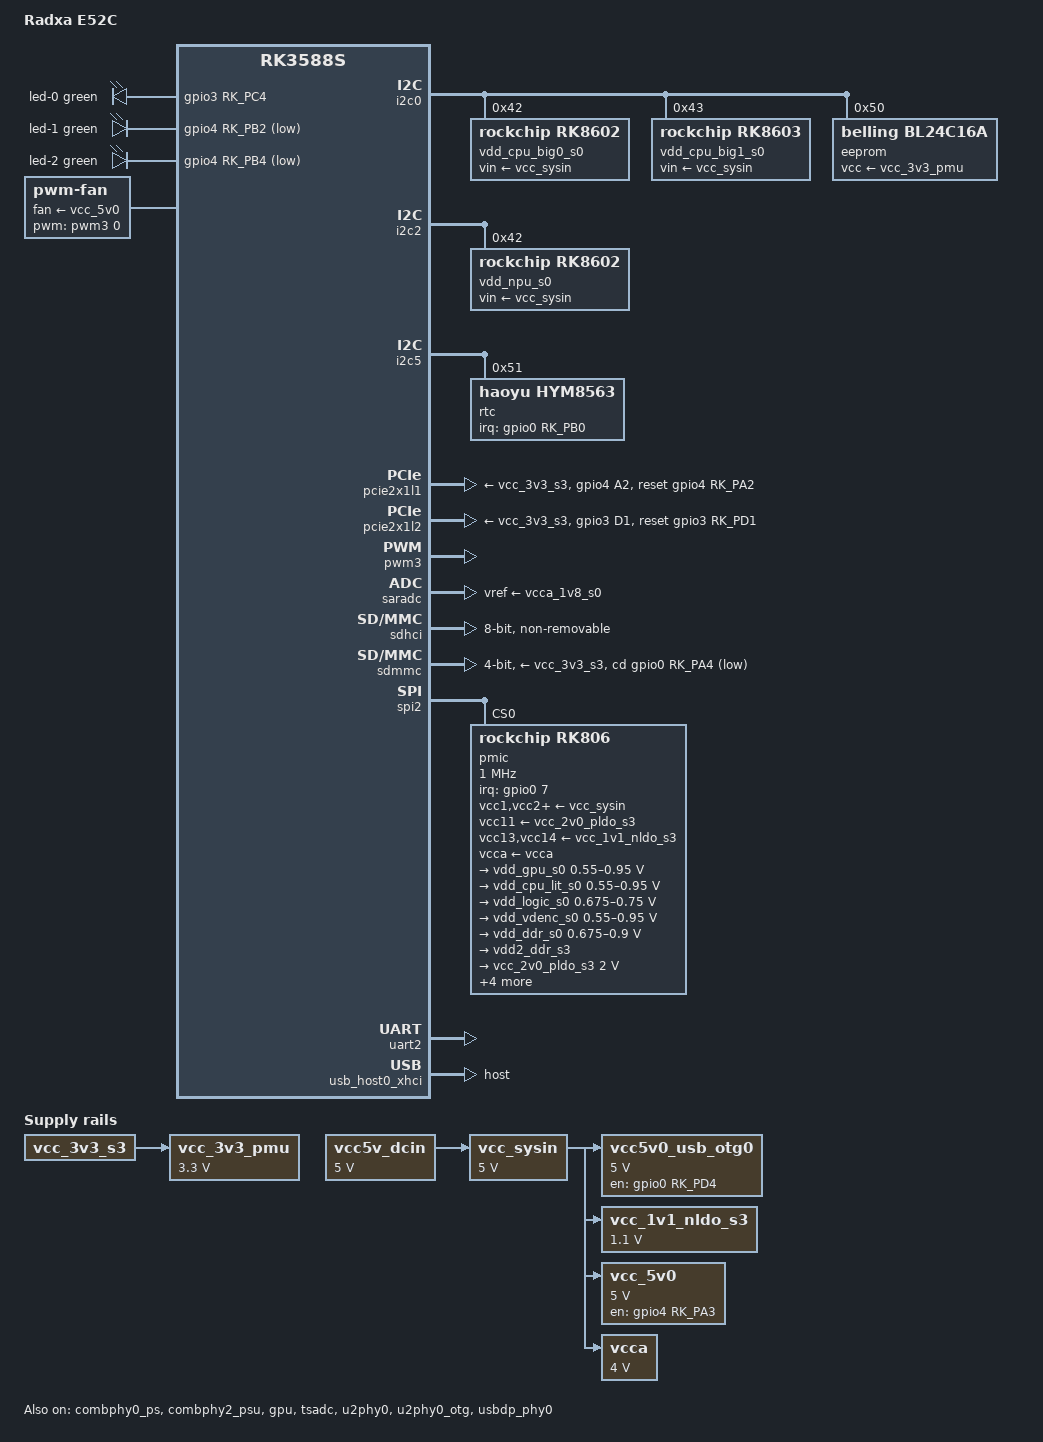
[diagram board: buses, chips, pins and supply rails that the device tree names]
// SPDX-License-Identifier: (GPL-2.0+ OR MIT)
/*
 * Copyright (c) 2024 Radxa Computer (Shenzhen) Co., Ltd.
 */

/dts-v1/;

#include <dt-bindings/gpio/gpio.h>
#include <dt-bindings/leds/common.h>
#include <dt-bindings/pinctrl/rockchip.h>
#include "rk3588s.dtsi"

/ {
	model = "Radxa E52C";
	compatible = "radxa,e52c", "rockchip,rk3588s";

	aliases {
		mmc0 = &sdhci;
		mmc1 = &sdmmc;
	};

	chosen {
		stdout-path = "serial2:1500000n8";
	};

	leds {
		compatible = "gpio-leds";
		pinctrl-names = "default";
		pinctrl-0 = <&led_pins>;

		led-0 {
			color = <LED_COLOR_ID_GREEN>;
			default-state = "on";
			function = LED_FUNCTION_STATUS;
			gpios = <&gpio3 RK_PC4 GPIO_ACTIVE_HIGH>;
			linux,default-trigger = "heartbeat";
		};

		led-1 {
			color = <LED_COLOR_ID_GREEN>;
			default-state = "on";
			function = LED_FUNCTION_LAN;
			gpios = <&gpio4 RK_PB2 GPIO_ACTIVE_LOW>;
			linux,default-trigger = "r8169-4-4100:00:link";
		};

		led-2 {
			color = <LED_COLOR_ID_GREEN>;
			default-state = "on";
			function = LED_FUNCTION_WAN;
			gpios = <&gpio4 RK_PB4 GPIO_ACTIVE_LOW>;
			linux,default-trigger = "r8169-3-3100:00:link";
		};
	};

	fan: pwm-fan {
		compatible = "pwm-fan";
		#cooling-cells = <2>;
		cooling-levels = <0 64 128 192 255>;
		fan-supply = <&vcc_5v0>;
		pwms = <&pwm3 0 60000 0>;
	};

	vcc5v_dcin: regulator-vcc5v-dcin {
		compatible = "regulator-fixed";
		regulator-name = "vcc5v_dcin";
		regulator-always-on;
		regulator-boot-on;
		regulator-min-microvolt = <5000000>;
		regulator-max-microvolt = <5000000>;
	};

	vcc5v0_usb_otg0: regulator-vcc5v0-usb-otg0 {
		compatible = "regulator-fixed";
		enable-active-high;
		gpio = <&gpio0 RK_PD4 GPIO_ACTIVE_HIGH>;
		pinctrl-names = "default";
		pinctrl-0 = <&usb_otg_pwren_h>;
		regulator-name = "vcc5v0_usb_otg0";
		regulator-min-microvolt = <5000000>;
		regulator-max-microvolt = <5000000>;
		vin-supply = <&vcc_sysin>;
	};

	vcc_1v1_nldo_s3: regulator-vcc-1v1-nldo-s3 {
		compatible = "regulator-fixed";
		regulator-name = "vcc_1v1_nldo_s3";
		regulator-always-on;
		regulator-boot-on;
		regulator-min-microvolt = <1100000>;
		regulator-max-microvolt = <1100000>;
		vin-supply = <&vcc_sysin>;
	};

	vcc_3v3_pmu: regulator-vcc-3v3-pmu {
		compatible = "regulator-fixed";
		regulator-name = "vcc_3v3_pmu";
		regulator-always-on;
		regulator-boot-on;
		regulator-min-microvolt = <3300000>;
		regulator-max-microvolt = <3300000>;
		vin-supply = <&vcc_3v3_s3>;
	};

	vcc_5v0: regulator-vcc-5v0 {
		compatible = "regulator-fixed";
		enable-active-high;
		gpio = <&gpio4 RK_PA3 GPIO_ACTIVE_HIGH>;
		pinctrl-names = "default";
		pinctrl-0 = <&vcc_5v0_pwren_h>;
		regulator-name = "vcc_5v0";
		regulator-min-microvolt = <5000000>;
		regulator-max-microvolt = <5000000>;
		vin-supply = <&vcc_sysin>;
	};

	vcc_sysin: regulator-vcc-sysin {
		compatible = "regulator-fixed";
		regulator-name = "vcc_sysin";
		regulator-always-on;
		regulator-boot-on;
		regulator-min-microvolt = <5000000>;
		regulator-max-microvolt = <5000000>;
		vin-supply = <&vcc5v_dcin>;
	};

	vcca: regulator-vcca {
		compatible = "regulator-fixed";
		regulator-name = "vcca";
		regulator-always-on;
		regulator-boot-on;
		regulator-min-microvolt = <4000000>;
		regulator-max-microvolt = <4000000>;
		vin-supply = <&vcc_sysin>;
	};
};

&combphy0_ps {
	status = "okay";
};

&combphy2_psu {
	status = "okay";
};

&cpu_b0 {
	cpu-supply = <&vdd_cpu_big0_s0>;
};

&cpu_b1 {
	cpu-supply = <&vdd_cpu_big0_s0>;
};

&cpu_b2 {
	cpu-supply = <&vdd_cpu_big1_s0>;
};

&cpu_b3 {
	cpu-supply = <&vdd_cpu_big1_s0>;
};

&cpu_l0 {
	cpu-supply = <&vdd_cpu_lit_s0>;
};

&cpu_l1 {
	cpu-supply = <&vdd_cpu_lit_s0>;
};

&cpu_l2 {
	cpu-supply = <&vdd_cpu_lit_s0>;
};

&cpu_l3 {
	cpu-supply = <&vdd_cpu_lit_s0>;
};

&gpu {
	mali-supply = <&vdd_gpu_s0>;
	status = "okay";
};

&i2c0 {
	pinctrl-names = "default";
	pinctrl-0 = <&i2c0m2_xfer>;
	status = "okay";

	vdd_cpu_big0_s0: regulator@42 {
		compatible = "rockchip,rk8602";
		reg = <0x42>;
		fcs,suspend-voltage-selector = <1>;
		regulator-name = "vdd_cpu_big0_s0";
		regulator-always-on;
		regulator-boot-on;
		regulator-min-microvolt = <550000>;
		regulator-max-microvolt = <1050000>;
		regulator-ramp-delay = <2300>;
		vin-supply = <&vcc_sysin>;

		regulator-state-mem {
			regulator-off-in-suspend;
		};
	};

	vdd_cpu_big1_s0: regulator@43 {
		compatible = "rockchip,rk8603", "rockchip,rk8602";
		reg = <0x43>;
		fcs,suspend-voltage-selector = <1>;
		regulator-name = "vdd_cpu_big1_s0";
		regulator-always-on;
		regulator-boot-on;
		regulator-min-microvolt = <550000>;
		regulator-max-microvolt = <1050000>;
		regulator-ramp-delay = <2300>;
		vin-supply = <&vcc_sysin>;

		regulator-state-mem {
			regulator-off-in-suspend;
		};
	};

	eeprom@50 {
		compatible = "belling,bl24c16a", "atmel,24c16";
		reg = <0x50>;
		pagesize = <16>;
		vcc-supply = <&vcc_3v3_pmu>;
	};
};

&i2c2 {
	status = "okay";

	vdd_npu_s0: regulator@42 {
		compatible = "rockchip,rk8602";
		reg = <0x42>;
		fcs,suspend-voltage-selector = <1>;
		regulator-name = "vdd_npu_s0";
		regulator-always-on;
		regulator-boot-on;
		regulator-min-microvolt = <550000>;
		regulator-max-microvolt = <950000>;
		regulator-ramp-delay = <2300>;
		vin-supply = <&vcc_sysin>;

		regulator-state-mem {
			regulator-off-in-suspend;
		};
	};
};

&i2c5 {
	pinctrl-names = "default";
	pinctrl-0 = <&i2c5m2_xfer>;
	status = "okay";

	rtc@51 {
		compatible = "haoyu,hym8563";
		reg = <0x51>;
		#clock-cells = <0>;
		clock-output-names = "rtcic_32kout";
		interrupt-parent = <&gpio0>;
		interrupts = <RK_PB0 IRQ_TYPE_LEVEL_LOW>;
		pinctrl-names = "default";
		pinctrl-0 = <&rtc_int_l>;
	};
};

&package_thermal {
	polling-delay = <1000>;

	trips {
		package_fan0: package-fan0 {
			hysteresis = <2000>;
			temperature = <55000>;
			type = "active";
		};

		package_fan1: package-fan1 {
			hysteresis = <2000>;
			temperature = <65000>;
			type = "active";
		};
	};

	cooling-maps {
		map0 {
			cooling-device = <&fan THERMAL_NO_LIMIT 1>;
			trip = <&package_fan0>;
		};

		map1 {
			cooling-device = <&fan 2 THERMAL_NO_LIMIT>;
			trip = <&package_fan1>;
		};
	};
};

&pcie2x1l1 {
	pinctrl-names = "default";
	pinctrl-0 = <&pcie20x1_1_perstn_m1>;
	reset-gpios = <&gpio4 RK_PA2 GPIO_ACTIVE_HIGH>;
	vpcie3v3-supply = <&vcc_3v3_s3>;
	status = "okay";
};

&pcie2x1l2 {
	pinctrl-names = "default";
	pinctrl-0 = <&pcie20x1_2_perstn_m0>;
	reset-gpios = <&gpio3 RK_PD1 GPIO_ACTIVE_HIGH>;
	vpcie3v3-supply = <&vcc_3v3_s3>;
	status = "okay";
};

&pinctrl {
	leds {
		led_pins: led-pins {
			rockchip,pins = <3 RK_PC4 RK_FUNC_GPIO &pcfg_pull_none>,
					<4 RK_PB2 RK_FUNC_GPIO &pcfg_pull_none>,
					<4 RK_PB4 RK_FUNC_GPIO &pcfg_pull_none>;
		};
	};

	pcie {
		pcie20x1_1_perstn_m1: pcie20x1-1-perstn-m1 {
			rockchip,pins = <4 RK_PA2 RK_FUNC_GPIO &pcfg_pull_none>;
		};

		pcie20x1_2_perstn_m0: pcie20x1-2-perstn-m0 {
			rockchip,pins = <3 RK_PD1 RK_FUNC_GPIO &pcfg_pull_none>;
		};
	};

	rtc {
		rtc_int_l: rtc-int-l {
			rockchip,pins = <0 RK_PB0 RK_FUNC_GPIO &pcfg_pull_none>;
		};
	};

	usb {
		usb_otg_pwren_h: usb-otg-pwren-h {
			rockchip,pins = <0 RK_PD4 RK_FUNC_GPIO &pcfg_pull_none>;
		};
	};

	vcc-5v0 {
		vcc_5v0_pwren_h: vcc-5v0-pwren-h {
			rockchip,pins = <4 RK_PA3 RK_FUNC_GPIO &pcfg_pull_none>;
		};
	};
};

&pwm3 {
	pinctrl-names = "default";
	pinctrl-0 = <&pwm3m1_pins>;
	status = "okay";
};

&saradc {
	vref-supply = <&vcca_1v8_s0>;
	status = "okay";
};

&sdhci {
	bus-width = <8>;
	mmc-hs400-1_8v;
	mmc-hs400-enhanced-strobe;
	no-sdio;
	no-sd;
	non-removable;
	status = "okay";
};

&sdmmc {
	bus-width = <4>;
	cap-mmc-highspeed;
	cap-sd-highspeed;
	cd-gpios = <&gpio0 RK_PA4 GPIO_ACTIVE_LOW>;
	disable-wp;
	no-sdio;
	no-mmc;
	sd-uhs-sdr104;
	vmmc-supply = <&vcc_3v3_s3>;
	vqmmc-supply = <&vccio_sd_s0>;
	status = "okay";
};

&spi2 {
	status = "okay";
	assigned-clocks = <&cru CLK_SPI2>;
	assigned-clock-rates = <200000000>;
	num-cs = <1>;
	pinctrl-names = "default";
	pinctrl-0 = <&spi2m2_cs0 &spi2m2_pins>;

	pmic@0 {
		compatible = "rockchip,rk806";
		reg = <0>;
		gpio-controller;
		#gpio-cells = <2>;
		interrupt-parent = <&gpio0>;
		interrupts = <7 IRQ_TYPE_LEVEL_LOW>;
		pinctrl-names = "default";
		pinctrl-0 = <&pmic_pins>, <&rk806_dvs1_null>,
			    <&rk806_dvs2_null>, <&rk806_dvs3_null>;
		spi-max-frequency = <1000000>;
		system-power-controller;

		vcc1-supply = <&vcc_sysin>;
		vcc2-supply = <&vcc_sysin>;
		vcc3-supply = <&vcc_sysin>;
		vcc4-supply = <&vcc_sysin>;
		vcc5-supply = <&vcc_sysin>;
		vcc6-supply = <&vcc_sysin>;
		vcc7-supply = <&vcc_sysin>;
		vcc8-supply = <&vcc_sysin>;
		vcc9-supply = <&vcc_sysin>;
		vcc10-supply = <&vcc_sysin>;
		vcc11-supply = <&vcc_2v0_pldo_s3>;
		vcc12-supply = <&vcc_sysin>;
		vcc13-supply = <&vcc_1v1_nldo_s3>;
		vcc14-supply = <&vcc_1v1_nldo_s3>;
		vcca-supply = <&vcca>;

		rk806_dvs1_null: dvs1-null-pins {
			pins = "gpio_pwrctrl1";
			function = "pin_fun0";
		};

		rk806_dvs2_null: dvs2-null-pins {
			pins = "gpio_pwrctrl2";
			function = "pin_fun0";
		};

		rk806_dvs3_null: dvs3-null-pins {
			pins = "gpio_pwrctrl3";
			function = "pin_fun0";
		};

		regulators {
			vdd_gpu_s0: dcdc-reg1 {
				regulator-name = "vdd_gpu_s0";
				regulator-boot-on;
				regulator-min-microvolt = <550000>;
				regulator-max-microvolt = <950000>;
				regulator-ramp-delay = <12500>;
				regulator-enable-ramp-delay = <400>;

				regulator-state-mem {
					regulator-off-in-suspend;
				};
			};

			vdd_cpu_lit_s0: dcdc-reg2 {
				regulator-name = "vdd_cpu_lit_s0";
				regulator-always-on;
				regulator-boot-on;
				regulator-min-microvolt = <550000>;
				regulator-max-microvolt = <950000>;
				regulator-ramp-delay = <12500>;

				regulator-state-mem {
					regulator-off-in-suspend;
				};
			};

			vdd_logic_s0: dcdc-reg3 {
				regulator-name = "vdd_logic_s0";
				regulator-always-on;
				regulator-boot-on;
				regulator-min-microvolt = <675000>;
				regulator-max-microvolt = <750000>;
				regulator-ramp-delay = <12500>;

				regulator-state-mem {
					regulator-on-in-suspend;
					regulator-suspend-microvolt = <750000>;
				};
			};

			vdd_vdenc_s0: dcdc-reg4 {
				regulator-name = "vdd_vdenc_s0";
				regulator-always-on;
				regulator-boot-on;
				regulator-min-microvolt = <550000>;
				regulator-max-microvolt = <950000>;
				regulator-ramp-delay = <12500>;

				regulator-state-mem {
					regulator-off-in-suspend;
				};
			};

			vdd_ddr_s0: dcdc-reg5 {
				regulator-name = "vdd_ddr_s0";
				regulator-always-on;
				regulator-boot-on;
				regulator-min-microvolt = <675000>;
				regulator-max-microvolt = <900000>;
				regulator-ramp-delay = <12500>;

				regulator-state-mem {
					regulator-off-in-suspend;
					regulator-suspend-microvolt = <850000>;
				};
			};

			vdd2_ddr_s3: dcdc-reg6 {
				regulator-name = "vdd2_ddr_s3";
				regulator-always-on;
				regulator-boot-on;

				regulator-state-mem {
					regulator-on-in-suspend;
				};
			};

			vcc_2v0_pldo_s3: dcdc-reg7 {
				regulator-name = "vcc_2v0_pldo_s3";
				regulator-always-on;
				regulator-boot-on;
				regulator-min-microvolt = <2000000>;
				regulator-max-microvolt = <2000000>;

				regulator-state-mem {
					regulator-on-in-suspend;
					regulator-suspend-microvolt = <2000000>;
				};
			};

			vcc_3v3_s3: dcdc-reg8 {
				regulator-name = "vcc_3v3_s3";
				regulator-always-on;
				regulator-boot-on;
				regulator-min-microvolt = <3300000>;
				regulator-max-microvolt = <3300000>;

				regulator-state-mem {
					regulator-on-in-suspend;
					regulator-suspend-microvolt = <3300000>;
				};
			};

			vddq_ddr_s0: dcdc-reg9 {
				regulator-name = "vddq_ddr_s0";
				regulator-always-on;
				regulator-boot-on;

				regulator-state-mem {
					regulator-off-in-suspend;
				};
			};

			vcc_1v8_s3: dcdc-reg10 {
				regulator-name = "vcc_1v8_s3";
				regulator-always-on;
				regulator-boot-on;
				regulator-min-microvolt = <1800000>;
				regulator-max-microvolt = <1800000>;

				regulator-state-mem {
					regulator-on-in-suspend;
					regulator-suspend-microvolt = <1800000>;
				};
			};

			vcc_1v8_s0: pldo-reg1 {
				regulator-name = "vcc_1v8_s0";
				regulator-always-on;
				regulator-boot-on;
				regulator-min-microvolt = <1800000>;
				regulator-max-microvolt = <1800000>;

				regulator-state-mem {
					regulator-on-in-suspend;
					regulator-suspend-microvolt = <1800000>;
				};
			};

			vcca_1v8_s0: pldo-reg2 {
				regulator-name = "vcca_1v8_s0";
				regulator-always-on;
				regulator-boot-on;
				regulator-min-microvolt = <1800000>;
				regulator-max-microvolt = <1800000>;

				regulator-state-mem {
					regulator-on-in-suspend;
					regulator-suspend-microvolt = <1800000>;
				};
			};

			vdda_1v2_s0: pldo-reg3 {
				regulator-name = "vdda_1v2_s0";
				regulator-always-on;
				regulator-boot-on;
				regulator-min-microvolt = <1200000>;
				regulator-max-microvolt = <1200000>;

				regulator-state-mem {
					regulator-off-in-suspend;
				};
			};

			vcca_3v3_s0: pldo-reg4 {
				regulator-name = "vcca_3v3_s0";
				regulator-always-on;
				regulator-boot-on;
				regulator-min-microvolt = <3300000>;
				regulator-max-microvolt = <3300000>;

				regulator-state-mem {
					regulator-on-in-suspend;
					regulator-suspend-microvolt = <3300000>;
				};
			};

			vccio_sd_s0: pldo-reg5 {
				regulator-name = "vccio_sd_s0";
				regulator-always-on;
				regulator-boot-on;
				regulator-min-microvolt = <1800000>;
				regulator-max-microvolt = <3300000>;

				regulator-state-mem {
					regulator-off-in-suspend;
				};
			};

			pldo6_s3: pldo-reg6 {
				regulator-name = "pldo6_s3";
				regulator-always-on;
				regulator-boot-on;
				regulator-min-microvolt = <1800000>;
				regulator-max-microvolt = <1800000>;

				regulator-state-mem {
					regulator-on-in-suspend;
					regulator-suspend-microvolt = <1800000>;
				};
			};

			vdd_0v75_s3: nldo-reg1 {
				regulator-name = "vdd_0v75_s3";
				regulator-always-on;
				regulator-boot-on;
				regulator-min-microvolt = <750000>;
				regulator-max-microvolt = <750000>;

				regulator-state-mem {
					regulator-on-in-suspend;
					regulator-suspend-microvolt = <750000>;
				};
			};

			vdda_ddr_pll_s0: nldo-reg2 {
				regulator-name = "vdda_ddr_pll_s0";
				regulator-always-on;
				regulator-boot-on;
				regulator-min-microvolt = <850000>;
				regulator-max-microvolt = <850000>;

				regulator-state-mem {
					regulator-on-in-suspend;
					regulator-suspend-microvolt = <850000>;
				};
			};

			vdda_0v75_s0: nldo-reg3 {
				regulator-name = "vdda_0v75_s0";
				regulator-always-on;
				regulator-boot-on;
				regulator-min-microvolt = <750000>;
				regulator-max-microvolt = <750000>;

				regulator-state-mem {
					regulator-on-in-suspend;
					regulator-suspend-microvolt = <750000>;
				};
			};

			vdda_0v85_s0: nldo-reg4 {
				regulator-name = "vdda_0v85_s0";
				regulator-always-on;
				regulator-boot-on;
				regulator-min-microvolt = <850000>;
				regulator-max-microvolt = <850000>;

				regulator-state-mem {
					regulator-off-in-suspend;
				};
			};

			vdd_0v75_s0: nldo-reg5 {
				regulator-name = "vdd_0v75_s0";
				regulator-always-on;
				regulator-boot-on;
				regulator-min-microvolt = <750000>;
				regulator-max-microvolt = <750000>;

				regulator-state-mem {
					regulator-off-in-suspend;
				};
			};
		};
	};
};

&tsadc {
	status = "okay";
};

&u2phy0 {
	status = "okay";
};

&u2phy0_otg {
	phy-supply = <&vcc5v0_usb_otg0>;
	status = "okay";
};

&uart2 {
	pinctrl-0 = <&uart2m0_xfer>;
	status = "okay";
};

&usb_host0_xhci {
	dr_mode = "host";
	status = "okay";
};

&usbdp_phy0 {
	status = "okay";
};
